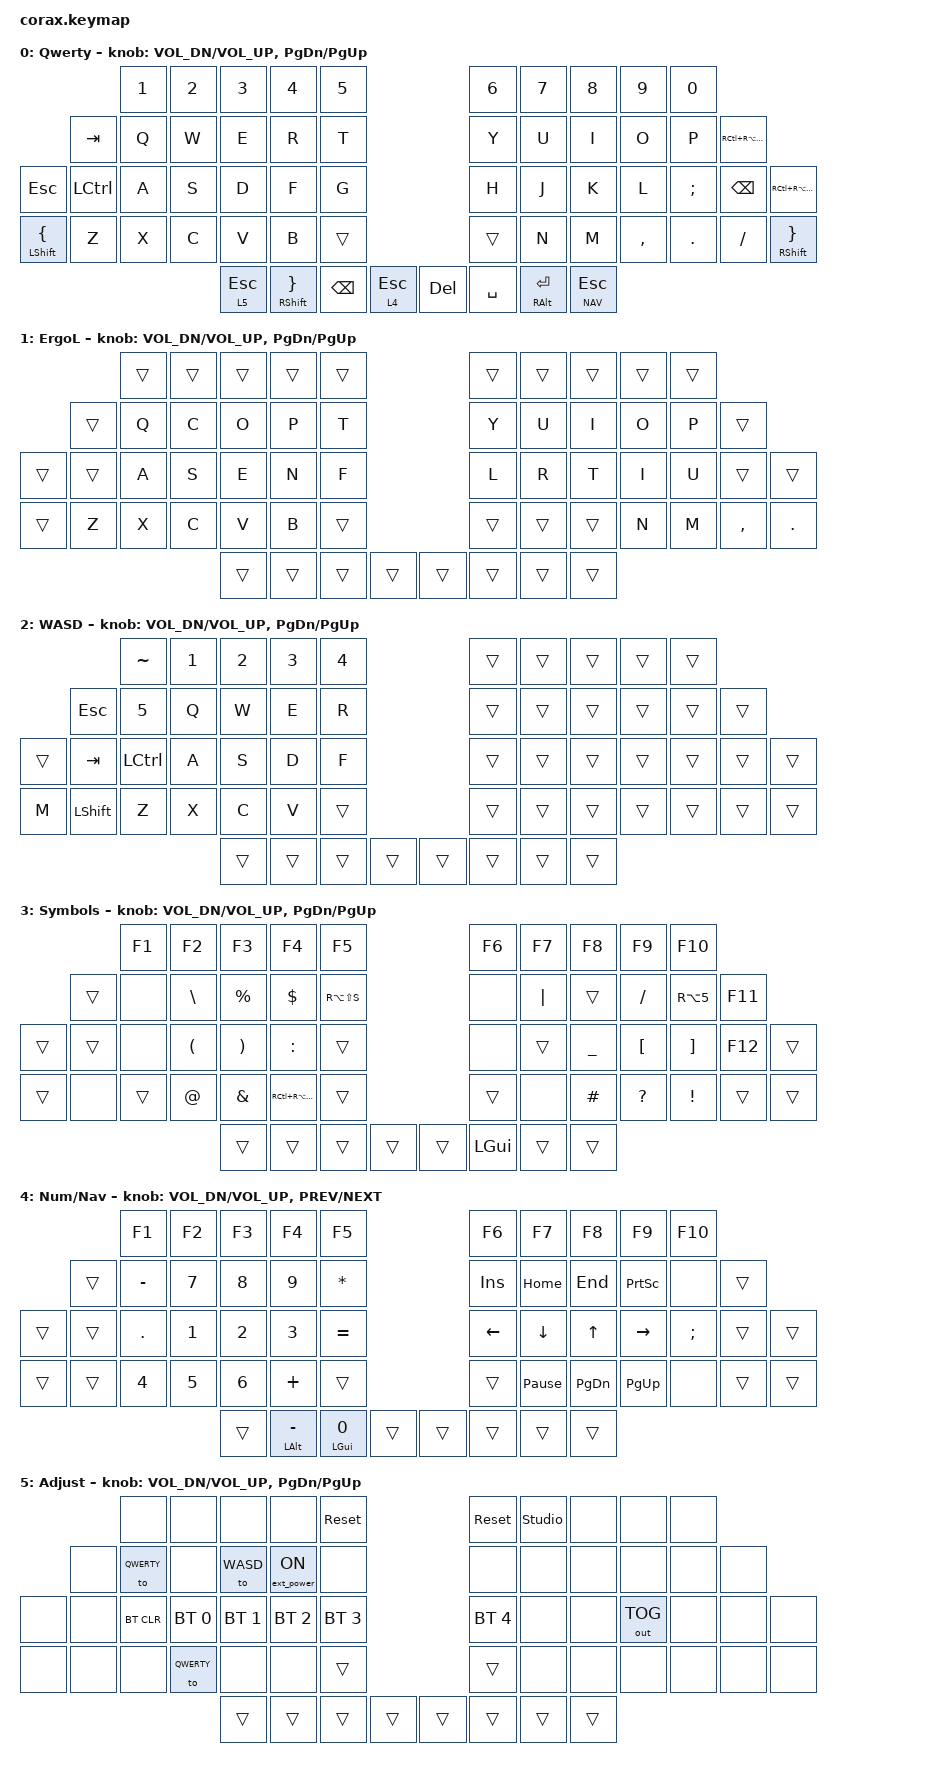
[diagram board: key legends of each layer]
#include <behaviors.dtsi>
#include <dt-bindings/zmk/bt.h>
#include <dt-bindings/zmk/ext_power.h>
#include <dt-bindings/zmk/keys.h>
#include <dt-bindings/zmk/outputs.h>

#define QWERTY 0
#define ERGOL 1
#define WASD 2
#define SYM 3
#define NAV 4
#define ADJUST 5

// additional caps word keys

&caps_word { continue-list = <UNDERSCORE MINUS LS(MINUS) UP DOWN LEFT RIGHT BSPC DEL>; };

/ {
    behaviors {
        lthp: layer_tap_hold_preferred {
            compatible = "zmk,behavior-hold-tap";
            #binding-cells = <2>;
            flavor = "hold-preferred";
            tapping-term-ms = <200>;
            bindings = <&mo>, <&kp>;
        };

        mthp: mod_tap_hold_preferred {
            compatible = "zmk,behavior-hold-tap";
            #binding-cells = <2>;
            flavor = "hold-preferred";
            tapping-term-ms = <200>;
            bindings = <&kp>, <&kp>;
        };
    };

    combos {
        compatible = "zmk,combos";

        gm_capsword {
            bindings = <&caps_word>;

            // caps on G+M

            key-positions = <28 29>;
        };
    };

    keymap {
        compatible = "zmk,keymap";

        qwerty_layer {
            display-name = "Qwerty";
            bindings = <
                         &kp N1  &kp N2  &kp N3        &kp N4          &kp N5                                       &kp N6     &kp N7          &kp N8       &kp N9   &kp N0
         &kp TAB         &kp Q   &kp W   &kp E         &kp R           &kp T                                        &kp Y      &kp U           &kp I        &kp O    &kp P      &kp RC(RA(F13))
&kp ESC  &kp LCTRL       &kp A   &kp S   &kp D         &kp F           &kp G                                        &kp H      &kp J           &kp K        &kp L    &kp SEMI   &kp BSPC         &kp RC(RA(F13))
         &mt LSHFT LBRC  &kp Z   &kp X   &kp C         &kp V           &kp B          &trans            &trans      &kp N      &kp M           &kp COMMA    &kp DOT  &kp SLASH  &mt RSHFT RBRC
                                         &lt 5 ESCAPE  &mt RSHFT RBRC  &kp BACKSPACE  &lt 4 ESCAPE      &kp DELETE  &kp SPACE  &mt RALT ENTER  &lt NAV ESC
            >;

            sensor-bindings =
                <&inc_dec_kp C_VOL_DN C_VOL_UP>,
                <&inc_dec_kp PAGE_DOWN PAGE_UP>;
        };

        ergol_layer {
            display-name = "ErgoL";
            bindings = <
                &trans  &trans  &trans  &trans  &trans                      &trans  &trans  &trans  &trans  &trans
        &trans  &kp Q   &kp C   &kp O   &kp P   &kp T                       &kp Y   &kp U   &kp I   &kp O   &kp P      &trans
&trans  &trans  &kp A   &kp S   &kp E   &kp N   &kp F                       &kp L   &kp R   &kp T   &kp I   &kp U      &trans   &trans
        &trans  &kp Z   &kp X   &kp C   &kp V   &kp B   &trans      &trans  &trans  &trans  &kp N   &kp M   &kp COMMA  &kp DOT
                                &trans  &trans  &trans  &trans      &trans  &trans  &trans  &trans
            >;

            sensor-bindings = <&inc_dec_kp C_VOL_DN C_VOL_UP &inc_dec_kp PG_DN PG_UP>;
        };

        gaming_layer {
            display-name = "WASD";
            bindings = <
                 &kp TILDE   &kp N1  &kp N2  &kp N3  &kp N4                      &trans  &trans  &trans  &trans  &trans
        &kp ESC  &kp N5      &kp Q   &kp W   &kp E   &kp R                       &trans  &trans  &trans  &trans  &trans  &trans
&trans  &kp TAB  &kp LCTRL   &kp A   &kp S   &kp D   &kp F                       &trans  &trans  &trans  &trans  &trans  &trans  &trans
        &kp M    &kp LSHIFT  &kp Z   &kp X   &kp C   &kp V   &trans      &trans  &trans  &trans  &trans  &trans  &trans  &trans
                                     &trans  &trans  &trans  &trans      &trans  &trans  &trans  &trans
            >;

            sensor-bindings = <&inc_dec_kp C_VOL_DN C_VOL_UP &inc_dec_kp PG_DN PG_UP>;
        };

        // left mod

        sym_layer {
            display-name = "Symbols";
            bindings = <
                &kp F1  &kp F2    &kp F3     &kp F4     &kp F5                               &kp F6    &kp F7    &kp F8     &kp F9     &kp F10
        &trans  &none   &kp BSLH  &kp PRCNT  &kp DLLR   &kp RA(LS(S))                        &none     &kp PIPE  &trans     &kp SLASH  &kp RA(N5)  &kp F11
&trans  &trans  &none   &kp LPAR  &kp RPAR   &kp COLON  &trans                               &none     &trans    &kp UNDER  &kp LBKT   &kp RBKT    &kp F12  &trans
        &trans  &none   &trans    &kp AT     &kp AMPS   &kp RC(RA(F14))  &trans      &trans  &none     &kp HASH  &kp QMARK  &kp EXCL   &trans      &trans
                                  &trans     &trans     &trans           &trans      &trans  &kp LGUI  &trans    &trans
            >;

            sensor-bindings = <&inc_dec_kp C_VOL_DN C_VOL_UP &inc_dec_kp PG_DN PG_UP>;
        };

        // right mod

        nav_layer {
            display-name = "Num/Nav";
            bindings = <
                &kp F1     &kp F2  &kp F3  &kp F4          &kp F5                           &kp F6           &kp F7     &kp F8     &kp F9     &kp F10
        &trans  &kp MINUS  &kp N7  &kp N8  &kp N9          &kp STAR                         &kp INS          &kp HOME   &kp END    &kp PSCRN  &none     &trans
&trans  &trans  &kp DOT    &kp N1  &kp N2  &kp N3          &kp EQUAL                        &kp LEFT         &kp DOWN   &kp UP     &kp RIGHT  &kp SEMI  &trans  &trans
        &trans  &trans     &kp N4  &kp N5  &kp N6          &kp PLUS     &trans      &trans  &kp PAUSE_BREAK  &kp PG_DN  &kp PG_UP  &none      &trans    &trans
                                   &trans  &mt LALT MINUS  &mt LGUI N0  &trans      &trans  &trans           &trans     &trans
            >;

            sensor-bindings = <&inc_dec_kp C_VOL_DN C_VOL_UP &inc_dec_kp C_PREV C_NEXT>;
        };

        adjust_layer {
            display-name = "Adjust";
            bindings = <
              &none       &none         &none         &none             &sys_reset                        &sys_reset    &studio_unlock  &none   &none         &none
       &none  &to QWERTY  &none         &to WASD      &ext_power EP_ON  &none                             &none         &none           &none   &none         &none  &none
&none  &none  &bt BT_CLR  &bt BT_SEL 0  &bt BT_SEL 1  &bt BT_SEL 2      &bt BT_SEL 3                      &bt BT_SEL 4  &none           &none   &out OUT_TOG  &none  &none  &none
       &none  &none       &none         &to QWERTY    &none             &none         &trans      &trans  &none         &none           &none   &none         &none  &none
                                        &trans        &trans            &trans        &trans      &trans  &trans        &trans          &trans
            >;

            sensor-bindings = <&inc_dec_kp C_VOL_DN C_VOL_UP &inc_dec_kp PG_DN PG_UP>;
        };

        // reserved extra layer for zmk studio

        extra1 { status = "reserved"; };
    };
};
